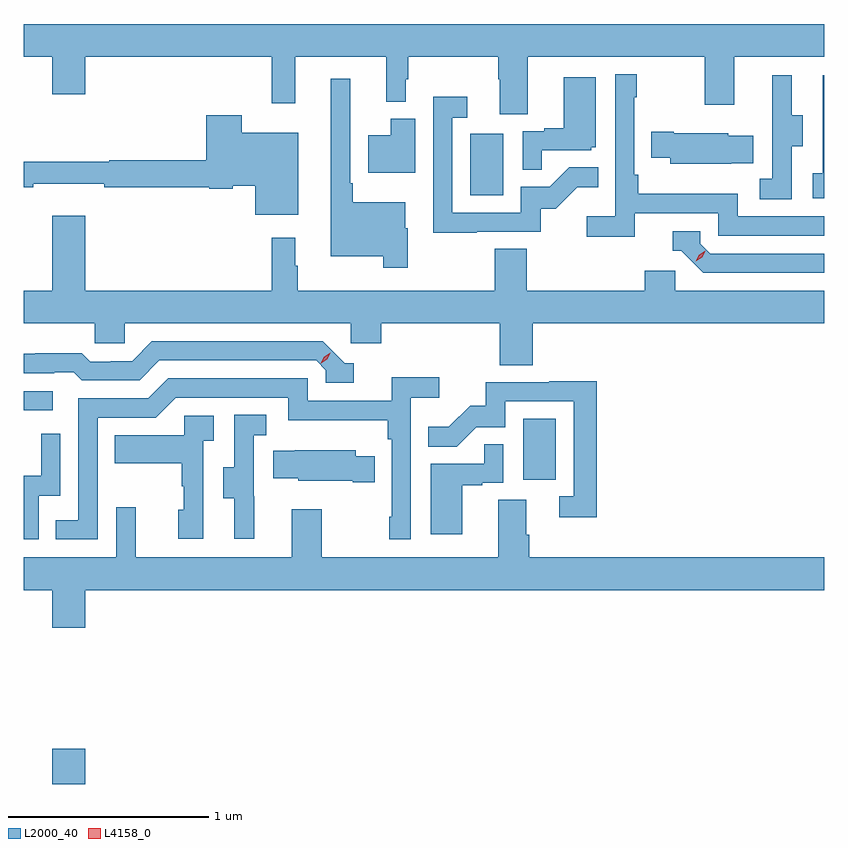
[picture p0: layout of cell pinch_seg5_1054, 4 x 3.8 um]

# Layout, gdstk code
import gdstk
lib = gdstk.Library(unit=1e-6, precision=1e-09)
def R(c, l, rs):  # rectangles x0, y0, x1, y1
    for r in rs: c.add(gdstk.rectangle(r[:2], r[2:], *l))
def P(c, l, *ps):  # polygons
    for p in ps: c.add(gdstk.Polygon(p, *l))
L2000_40 = (2000, 40)
L4158_0 = (4158, 0)

pinch_seg5_1054 = lib.new_cell('pinch_seg5_1054')
R(pinch_seg5_1054, L2000_40, [(860.312,871.775,860.476,871.951), (862.664,873.294,862.828,873.601), (860.169,873.642,860.314,873.738), (862.4,874.716,862.564,875.023)])
P(pinch_seg5_1054, L2000_40, [(862.687,875.408),(863.572,875.408),(863.572,875.169),(863.719,875.169),(863.719,875.408),(864.169,875.408),(864.169,875.572),(860.169,875.572),(860.169,875.408),(860.312,875.408),(860.312,875.22),(860.476,875.22),(860.476,875.408),(861.409,875.408),(861.409,875.175),(861.527,875.175),(861.527,875.408),(861.98,875.408),(861.98,875.183),(862.078,875.183),(862.078,875.296),(862.09,875.296),(862.09,875.408),(862.54,875.408),(862.54,875.296),(862.547,875.296),(862.547,875.122),(862.687,875.122)],
  [(863.222,874.626),(863.64,874.626),(863.64,874.515),(864.169,874.515),(864.169,874.611),(863.736,874.611),(863.736,874.723),(863.24,874.723),(863.24,874.819),(863.22,874.819),(863.22,875.207),(863.233,875.207),(863.233,875.32),(863.124,875.32),(863.124,874.612),(862.983,874.612),(862.983,874.51),(863.222,874.51)],
  [(864.169,875.317),(864.162,875.317),(864.162,874.826),(864.111,874.826),(864.111,874.701),(864.169,874.701)],
  [(864.006,874.96),(864.061,874.96),(864.061,875.115),(864.007,875.115),(864.007,875.317),(863.909,875.317),(863.909,875.103),(863.91,875.103),(863.91,874.799),(863.847,874.799),(863.847,874.696),(864.006,874.696)],
  [(862.757,874.941),(863.004,874.941),(863.004,874.956),(863.026,874.956),(863.026,875.305),(862.868,875.305),(862.868,875.05),(862.769,875.05),(862.769,875.037),(862.662,875.037),(862.662,874.843),(862.757,874.843)],
  [(862.087,874.551),(862.075,874.551),(862.075,874.681),(861.814,874.681),(861.814,874.777),(861.801,874.777),(861.801,875.299),(861.704,875.299),(861.704,874.412),(861.966,874.412),(861.966,874.355),(862.087,874.355)],
  [(862.433,874.533),(862.752,874.533),(862.752,874.65),(862.828,874.65),(862.935,874.757),(863.039,874.757),(863.039,874.856),(862.895,874.856),(862.797,874.758),(862.653,874.758),(862.653,874.629),(862.311,874.629),(862.311,875.103),(862.384,875.103),(862.384,875.209),(862.215,875.209),(862.215,874.528),(862.433,874.528)],
  [(861.541,875.029),(861.258,875.029),(861.258,875.116),(861.08,875.116),(861.08,874.892),(860.596,874.892),(860.596,874.885),(860.169,874.885),(860.169,874.756),(860.216,874.756),(860.216,874.775),(860.572,874.775),(860.572,874.756),(861.096,874.756),(861.096,874.748),(861.213,874.748),(861.213,874.763),(861.326,874.763),(861.326,874.619),(861.541,874.619)],
  [(862.126,875.098),(862.004,875.098),(862.004,875.017),(861.89,875.017),(861.89,874.829),(862.126,874.829)],
  [(863.705,874.877),(863.813,874.877),(863.813,875.014),(863.688,875.014),(863.688,875.026),(863.416,875.026),(863.416,875.034),(863.305,875.034),(863.305,874.904),(863.399,874.904),(863.399,874.874),(863.705,874.874)],
  [(860.312,874.615),(860.312,874.24),(860.169,874.24),(860.169,874.076),(860.523,874.076),(860.523,873.978),(860.673,873.978),(860.673,874.076),(861.804,874.076),(861.804,873.978),(861.956,873.978),(861.956,874.076),(862.547,874.076),(862.547,873.868),(862.712,873.868),(862.712,874.076),(864.169,874.076),(864.169,874.24),(863.424,874.24),(863.424,874.338),(863.273,874.338),(863.273,874.24),(862.682,874.24),(862.682,874.448),(862.522,874.448),(862.522,874.24),(861.538,874.24),(861.538,874.364),(861.526,874.364),(861.526,874.504),(861.409,874.504),(861.409,874.24),(860.476,874.24),(860.476,874.615)],
  [(864.169,874.425),(863.598,874.425),(863.55,874.473),(863.55,874.536),(863.411,874.536),(863.411,874.44),(863.454,874.44),(863.565,874.329),(864.169,874.329)],
  [(861.817,873.876),(861.774,873.876),(861.663,873.987),(860.81,873.987),(860.711,873.888),(860.604,873.888),(860.604,873.885),(860.501,873.885),(860.459,873.928),(860.226,873.928),(860.226,873.925),(860.169,873.925),(860.169,873.828),(860.321,873.828),(860.321,873.831),(860.42,873.831),(860.459,873.792),(860.748,873.792),(860.847,873.891),(861.63,873.891),(861.678,873.843),(861.678,873.78),(861.817,873.78)],
  [(860.538,873.606),(860.829,873.606),(860.928,873.705),(861.492,873.705),(861.492,873.593),(861.988,873.593),(861.988,873.497),(862.008,873.497),(862.008,873.109),(861.996,873.109),(861.996,872.997),(862.104,872.997),(862.104,873.704),(862.246,873.704),(862.246,873.806),(862.007,873.806),(862.007,873.69),(861.588,873.69),(861.588,873.801),(860.891,873.801),(860.792,873.702),(860.442,873.702),(860.442,873.093),(860.329,873.093),(860.329,872.997),(860.538,872.997)],
  [(863.033,873.788),(862.795,873.788),(862.795,873.783),(862.477,873.783),(862.477,873.666),(862.4,873.666),(862.293,873.559),(862.189,873.559),(862.189,873.46),(862.333,873.46),(862.431,873.558),(862.575,873.558),(862.575,873.687),(862.917,873.687),(862.917,873.213),(862.845,873.213),(862.845,873.108),(863.033,873.108)],
  [(861.32,873.213),(861.318,873.213),(861.318,873.517),(861.382,873.517),(861.382,873.62),(861.222,873.62),(861.222,873.357),(861.167,873.357),(861.167,873.202),(861.221,873.202),(861.221,873),(861.32,873)],
  [(861.066,873.491),(861.118,873.491),(861.118,873.615),(860.97,873.615),(860.97,873.517),(860.623,873.517),(860.623,873.377),(860.958,873.377),(860.958,873.263),(860.968,873.263),(860.968,873.144),(860.942,873.144),(860.942,873),(861.066,873)],
  [(860.244,873.216),(860.352,873.216),(860.352,873.526),(860.256,873.526),(860.256,873.314),(860.169,873.314),(860.169,872.997),(860.244,872.997)],
  [(862.36,873.267),(862.46,873.267),(862.46,873.279),(862.566,873.279),(862.566,873.473),(862.471,873.473),(862.471,873.375),(862.202,873.375),(862.202,873.024),(862.36,873.024)],
  [(861.923,873.412),(861.829,873.412),(861.829,873.442),(861.523,873.442),(861.523,873.439),(861.415,873.439),(861.415,873.302),(861.54,873.302),(861.54,873.29),(861.812,873.29),(861.812,873.283),(861.923,873.283)],
  [(860.476,872.744),(864.169,872.744),(864.169,872.908),(862.694,872.908),(862.694,873.02),(862.681,873.02),(862.681,873.194),(862.541,873.194),(862.541,872.908),(861.657,872.908),(861.657,873.148),(861.509,873.148),(861.509,872.908),(860.729,872.908),(860.729,873.157),(860.631,873.157),(860.631,872.908),(860.169,872.908),(860.169,872.744),(860.312,872.744),(860.312,872.556),(860.476,872.556)])
P(pinch_seg5_1054, L4158_0, [(863.527,874.387),(863.527,874.387),(863.543,874.42),(863.573,874.44),(863.574,874.44),(863.574,874.439),(863.558,874.406),(863.527,874.387)],
  [(861.654,873.876),(861.654,873.876),(861.67,873.91),(861.7,873.93),(861.7,873.93),(861.7,873.93),(861.685,873.897),(861.655,873.876)])

lib.write_gds('pinch_seg5_1054.gds')
